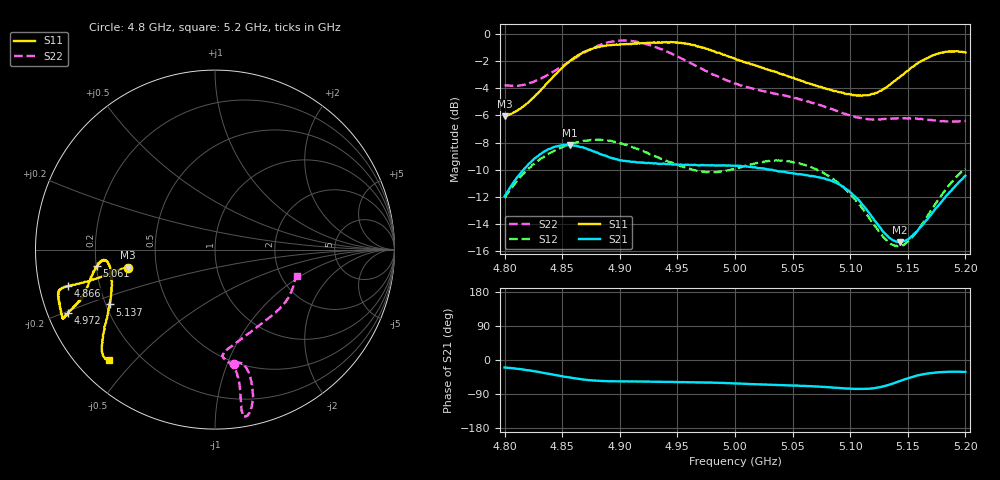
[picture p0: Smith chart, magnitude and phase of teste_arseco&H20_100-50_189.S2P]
! Network Analyzer HP8722D
! Hewlett-Packard
! Data name: Linha & Wilkinson
! Saver's name: Rodrigo Anjos
! Comments: Teste da utilização de aquisição
! continua pelo VNA HP8722D
! Time and date: 6/5/2025 14:08
!  Frequency  S11  S21  S12  S22
# HZ  S  MA R 50
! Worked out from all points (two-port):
!   401 points, 4.8 GHz to 5.2 GHz, reference 50 ohm
!   highest |S21| = -8.16 dB at 4.857 GHz (marker M1); lowest = -15.3 dB at 5.143 GHz (marker M2)
!   |S21| within 3 dB of the highest: 4.806 GHz to 5.092 GHz (286.4 MHz wide, 5.79 % of centre); 5.19156 GHz to end of sweep
!   lowest |S11| = -6.1 dB at 4.8 GHz (marker M3), VSWR 2.98, Z = 16.9 - j4.55 ohm
!   |S11| at or under -10 dB: nowhere
!   |S22| runs from -6.5 to -0.5 dB; largest |S21 - S12| = 0.62
!   S11 on the Smith chart (normalised r, x): 4.8 GHz: 0.34, -0.09; 4.866 GHz: 0.09, -0.12; 4.972 GHz: 0.06, -0.21; 5.061 GHz: 0.20, -0.07; 5.137 GHz: 0.22, -0.23; 5.2 GHz: 0.09, -0.42
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4.8e9  0.4975 -168.3  0.2527 -19.8  0.2492 -141.0  0.6477 -80.4
4.828e9  0.6011 -167.2  0.3537 -30.8  0.3386 -145.1  0.6754 -75.4
4.857e9  0.7967 -166.1  0.3907 -46.5  0.3926 -150.4  0.7934 -74.8
4.866e9  0.8433 -166.1  0.3829 -50.5  0.4016 -152.0  0.8375 -75.4
4.867e9  0.8476 -166.0  0.3833 -51.1  0.4025 -152.2  0.8419 -75.3
4.898e9  0.9109 -163.1  0.3452 -56.4  0.3982 -156.6  0.9429 -78.9
4.914e9  0.9201 -159.8  0.3374 -56.5  0.3786 -157.2  0.9362 -80.3
4.934e9  0.9296 -156.6  0.3329 -57.6  0.3511 -155.8  0.8826 -80.5
4.951e9  0.9243 -155.7  0.3307 -58.2  0.3286 -152.8  0.8215 -80.0
4.972e9  0.8896 -156.7  0.3296 -59.1  0.3116 -146.3  0.7403 -79.8
5e9  0.8095 -159.2  0.3273 -61.9  0.3197 -137.4  0.6557 -81.3
5.036e9  0.723 -165.8  0.3134 -66.0  0.3425 -134.6  0.6014 -85.7
5.061e9  0.6628 -172.0  0.3029 -68.5  0.3291 -136.4  0.5683 -84.1
5.067e9  0.6519 -173.2  0.3004 -69.2  0.3226 -136.8  0.5568 -82.7
5.087e9  0.6164 -174.6  0.2842 -73.2  0.2887 -138.7  0.5236 -74.8
5.103e9  0.5958 -171.5  0.2545 -76.2  0.2494 -138.8  0.4972 -65.1
5.134e9  0.6473 -154.2  0.1778 -65.0  0.1703 -120.7  0.4871 -43.3
5.137e9  0.6619 -152.5  0.1744 -62.2  0.1675 -116.8  0.4888 -41.3
5.143e9  0.6935 -149.4  0.1715 -55.8  0.166 -108.8  0.4885 -37.9
5.154e9  0.7562 -144.6  0.1811 -44.3  0.1792 -95.0  0.4886 -32.4
5.174e9  0.8393 -138.6  0.2276 -32.9  0.2372 -80.4  0.4803 -23.8
5.2e9  0.8534 -133.7  0.3009 -31.5  0.3193 -77.1  0.4779 -17.6
